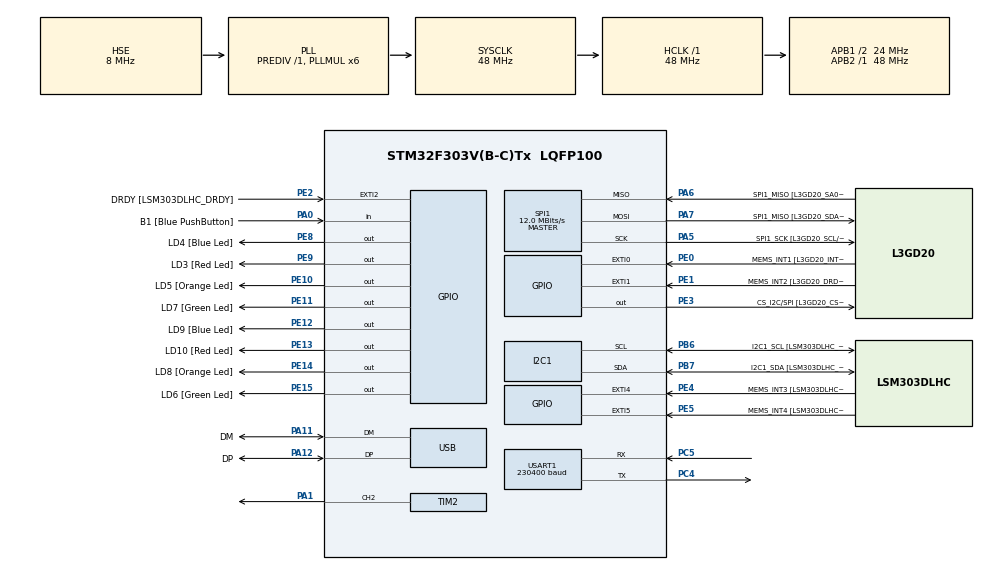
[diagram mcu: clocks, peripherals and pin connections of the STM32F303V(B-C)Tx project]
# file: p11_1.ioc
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I2C1.Timing-I2C=0x2000090E
Mcu.Family=STM32F3
Mcu.Name=STM32F303V(B-C)Tx
Mcu.Package=LQFP100
NVIC.PriorityGroup=NVIC_PRIORITYGROUP_0
NVIC.TIM3_IRQn=true\:0\:0\:false\:false\:true\:true\:true\:true
NVIC.USART1_IRQn=true\:0\:0\:false\:false\:true\:true\:true\:true
PA0.GPIO_Label=B1 [Blue PushButton]
PA0.Signal=GPIO_Input
PA1.Signal=S_TIM2_CH2
PA11.GPIO_Label=DM
PA11.Mode=Device
PA11.Signal=USB_DM
PA12.GPIO_Label=DP
PA12.Mode=Device
PA12.Signal=USB_DP
PA13.GPIO_Label=SWDIO
PA13.Mode=Serial_Wire
PA13.Signal=SYS_JTMS-SWDIO
PA14.GPIO_Label=SWCLK
PA14.Mode=Serial_Wire
PA14.Signal=SYS_JTCK-SWCLK
PA5.GPIO_Label=SPI1_SCK [L3GD20_SCL/SPC]
PA5.Mode=Full_Duplex_Master
PA5.Signal=SPI1_SCK
PA6.GPIO_Label=SPI1_MISO [L3GD20_SA0/SDO]
PA6.Mode=Full_Duplex_Master
PA6.Signal=SPI1_MISO
PA7.GPIO_Label=SPI1_MISO [L3GD20_SDA/SDI/SDO]
PA7.Mode=Full_Duplex_Master
PA7.Signal=SPI1_MOSI
PB3.GPIO_Label=SWO
PB3.Signal=SYS_JTDO-TRACESWO
PB6.GPIO_Label=I2C1_SCL [LSM303DLHC_SCL]
PB6.GPIO_Pu=GPIO_PULLUP
PB6.Mode=I2C
PB6.Signal=I2C1_SCL
PB7.GPIO_Label=I2C1_SDA [LSM303DLHC_SDA]
PB7.GPIO_Pu=GPIO_PULLUP
PB7.Mode=I2C
PB7.Signal=I2C1_SDA
PC14-OSC32_IN.GPIO_Label=OSC32_IN
PC14-OSC32_IN.Signal=RCC_OSC32_IN
PC15-OSC32_OUT.GPIO_Label=OSC32_OUT
PC15-OSC32_OUT.Signal=RCC_OSC32_OUT
PC4.Mode=Asynchronous
PC4.Signal=USART1_TX
PC5.Mode=Asynchronous
PC5.Signal=USART1_RX
PE0.GPIO_Label=MEMS_INT1 [L3GD20_INT1]
PE0.GPIO_ModeDefaultEXTI=GPIO_MODE_EVT_RISING
PE0.Signal=GPXTI0
PE1.GPIO_Label=MEMS_INT2 [L3GD20_DRDY/INT2]
PE1.GPIO_ModeDefaultEXTI=GPIO_MODE_EVT_RISING
PE1.Signal=GPXTI1
PE10.GPIO_Label=LD5 [Orange Led]
PE10.Signal=GPIO_Output
PE11.GPIO_Label=LD7 [Green Led]
PE11.Signal=GPIO_Output
PE12.GPIO_Label=LD9 [Blue Led]
PE12.Signal=GPIO_Output
PE13.GPIO_Label=LD10 [Red Led]
PE13.Signal=GPIO_Output
PE14.GPIO_Label=LD8 [Orange Led]
PE14.Signal=GPIO_Output
PE15.GPIO_Label=LD6 [Green Led]
PE15.Signal=GPIO_Output
PE2.GPIO_Label=DRDY [LSM303DLHC_DRDY]
PE2.GPIO_ModeDefaultEXTI=GPIO_MODE_EVT_RISING
PE2.Signal=GPXTI2
PE3.GPIO_Label=CS_I2C/SPI [L3GD20_CS_I2C/SPI]
PE3.Signal=GPIO_Output
PE4.GPIO_Label=MEMS_INT3 [LSM303DLHC_INT1]
PE4.GPIO_ModeDefaultEXTI=GPIO_MODE_EVT_RISING
PE4.Signal=GPXTI4
PE5.GPIO_Label=MEMS_INT4 [LSM303DLHC_INT2]
PE5.GPIO_ModeDefaultEXTI=GPIO_MODE_EVT_RISING
PE5.Signal=GPXTI5
PE8.GPIO_Label=LD4 [Blue Led]
PE8.Signal=GPIO_Output
PE9.GPIO_Label=LD3 [Red Led]
PE9.Signal=GPIO_Output
PF0-OSC_IN.GPIO_Label=OSC_IN
PF0-OSC_IN.Mode=HSE-External-Clock-Source
PF0-OSC_IN.Signal=RCC_OSC_IN
PF1-OSC_OUT.GPIO_Label=OSC_OUT
PF1-OSC_OUT.Signal=RCC_OSC_OUT
ProjectManager.HeapSize=0x200
ProjectManager.StackSize=0x400
ProjectManager.TargetToolchain=STM32CubeIDE
RCC.AHBFreq_Value=48000000
RCC.APB1CLKDivider=RCC_HCLK_DIV2
RCC.APB1Freq_Value=24000000
RCC.APB1TimFreq_Value=48000000
RCC.APB2Freq_Value=48000000
RCC.APB2TimFreq_Value=48000000
RCC.CortexFreq_Value=48000000
RCC.HCLKFreq_Value=48000000
RCC.HSE_VALUE=8000000
RCC.HSI_VALUE=8000000
RCC.LSE_VALUE=32768
RCC.PLLMUL=RCC_PLL_MUL6
RCC.SYSCLKFreq_VALUE=48000000
RCC.SYSCLKSourceVirtual=RCC_SYSCLKSOURCE_PLLCLK
RCC.USBFreq_Value=48000000
RTC.AsynchPrediv=39
RTC.Format=RTC_FORMAT_BIN
RTC.SynchPrediv=999
SH.S_TIM2_CH2.0=TIM2_CH2,PWM Generation2 CH2
SPI1.BaudRatePrescaler=SPI_BAUDRATEPRESCALER_4
SPI1.BaudRatePrescaler-Full_Duplex_Master=SPI_BAUDRATEPRESCALER_2
SPI1.CalculateBaudRate=12.0 MBits/s
SPI1.CalculateBaudRate-Full_Duplex_Master=24.0 MBits/s
SPI1.Direction=SPI_DIRECTION_2LINES
SPI1.Mode=SPI_MODE_MASTER
SPI1.Mode-Full_Duplex_Master=SPI_MODE_MASTER
SPI1.VirtualType=VM_MASTER
TIM2.Channel-PWM\ Generation2\ CH2=TIM_CHANNEL_2
TIM3.Period=10000-1
TIM3.Prescaler=2400-1
USART1.BaudRate=230400
USART1.VirtualMode-Asynchronous=VM_ASYNC
VP_RTC_VS_RTC_Activate.Mode=RTC_Enabled
VP_RTC_VS_RTC_Calendar.Mode=RTC_Calendar
VP_TIM2_VS_ClockSourceINT.Mode=Internal
VP_TIM3_VS_ClockSourceINT.Mode=Internal
board=STM32F3DISCOVERY

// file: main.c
/* USER CODE BEGIN Header */
/**
  ******************************************************************************
  * @file           : main.c
  * @brief          : Main program body
  ******************************************************************************
  * @attention
  *
  * Copyright (c) 2023 STMicroelectronics.
  * All rights reserved.
  *
  * This software is licensed under terms that can be found in the LICENSE file
  * in the root directory of this software component.
  * If no LICENSE file comes with this software, it is provided AS-IS.
  *
  ******************************************************************************
  */
/* USER CODE END Header */
#include "main.h"

/* USER CODE BEGIN Includes */
#include "stdbool.h"
#include <string.h>

/* USER CODE END Includes */

/* USER CODE BEGIN PTD */
typedef struct
{
    int hour;
    int minute;
    int second;
} Time;

typedef struct
{
    uint16_t frequency;
    uint16_t duration;
} Tone;

/* USER CODE END PTD */

/* USER CODE BEGIN PD */
#define NOTE_B0  31
#define NOTE_C1  33
#define NOTE_CS1 35
#define NOTE_D1  37
#define NOTE_DS1 39
#define NOTE_E1  41
#define NOTE_F1  44
#define NOTE_FS1 46
#define NOTE_G1  49
#define NOTE_GS1 52
#define NOTE_A1  55
#define NOTE_AS1 58
#define NOTE_B1  62
#define NOTE_C2  65
#define NOTE_CS2 69
#define NOTE_D2  73
#define NOTE_DS2 78
#define NOTE_E2  82
#define NOTE_F2  87
#define NOTE_FS2 93
#define NOTE_G2  98
#define NOTE_GS2 104
#define NOTE_A2  110
#define NOTE_AS2 117
#define NOTE_B2  123
#define NOTE_C3  131
#define NOTE_CS3 139
#define NOTE_D3  147
#define NOTE_DS3 156
#define NOTE_E3  165
#define NOTE_F3  175
#define NOTE_FS3 185
#define NOTE_G3  196
#define NOTE_GS3 208
#define NOTE_A3  220
#define NOTE_AS3 233
#define NOTE_B3  247
#define NOTE_C4  262
#define NOTE_CS4 277
#define NOTE_D4  294
#define NOTE_DS4 311
#define NOTE_E4  330
#define NOTE_F4  349
#define NOTE_FS4 370
#define NOTE_G4  392
#define NOTE_GS4 415
#define NOTE_A4  440
#define NOTE_AS4 466
#define NOTE_B4  494
#define NOTE_C5  523
#define NOTE_CS5 554
#define NOTE_D5  587
#define NOTE_DS5 622
#define NOTE_E5  659
#define NOTE_F5  698
#define NOTE_FS5 740
#define NOTE_G5  784
#define NOTE_GS5 831
#define NOTE_A5  880
#define NOTE_AS5 932
#define NOTE_B5  988
#define NOTE_C6  1047
#define NOTE_CS6 1109
#define NOTE_D6  1175
#define NOTE_DS6 1245
#define NOTE_E6  1319
#define NOTE_F6  1397
#define NOTE_FS6 1480
#define NOTE_G6  1568
#define NOTE_GS6 1661
#define NOTE_A6  1760
#define NOTE_AS6 1865
#define NOTE_B6  1976
#define NOTE_C7  2093
#define NOTE_CS7 2217
#define NOTE_D7  2349
#define NOTE_DS7 2489
#define NOTE_E7  2637
#define NOTE_F7  2794
#define NOTE_FS7 2960
#define NOTE_G7  3136
#define NOTE_GS7 3322
#define NOTE_A7  3520
#define NOTE_AS7 3729
#define NOTE_B7  3951
#define NOTE_C8  4186
#define NOTE_CS8 4435
#define NOTE_D8  4699
#define NOTE_DS8 4978
#define REST      0
/* USER CODE END PD */

/* USER CODE BEGIN PM */
#define ARRAY_LENGTH(arr) (sizeof(arr) / sizeof((arr)[0]))

/* USER CODE END PM */

I2C_HandleTypeDef hi2c1;

RTC_HandleTypeDef hrtc;

SPI_HandleTypeDef hspi1;

TIM_HandleTypeDef htim2;
TIM_HandleTypeDef htim3;

UART_HandleTypeDef huart1;

PCD_HandleTypeDef hpcd_USB_FS;

/* USER CODE BEGIN PV */
Time time;
Time alarm;
Time init;
Time alarm1;
Time alarm2;
Time alarm3;

//Tone *alarm_tone;

bool start = false;
char timestr[20];
int volume = 30;
int idx = 0;
char ch;
int duration = 0;
int clock_type = 0;
int count = 1;

char alarm_tone;
char alarm_tone1;
char alarm_tone2;
char alarm_tone3;

Tone *volatile melody_ptr;
volatile uint16_t melody_tone_count;
volatile uint16_t current_tone_number;
volatile uint32_t current_tone_end;
Tone nokia[] = {
	  {NOTE_E5, 153},
	  {NOTE_D5, 153},
	  {NOTE_FS4, 306},
	  {NOTE_GS4, 306},
	  {NOTE_CS5, 153},
	  {NOTE_B4, 153},
	  {NOTE_D4, 306},
	  {NOTE_E4, 306},
	  {NOTE_B4, 153},
	  {NOTE_A4, 153},
	  {NOTE_CS4, 306},
	  {NOTE_E4, 306},
	  {NOTE_A4, 612},
	  {   0,  0}

};
Tone happy_birthday[] = {

	  {NOTE_G4,306},
	  {NOTE_G4,612},
	  {NOTE_C5,918},
	  {NOTE_G4,306},
	  {NOTE_G4,612},
	  {NOTE_C5,918},
	  {NOTE_G4,306},
	  {NOTE_G4,612},
	  {NOTE_C5,306},
	  {NOTE_C5,612},
	  {NOTE_B4,306},
	  {NOTE_A4,612},
	  {NOTE_B4,918},
	  {NOTE_G4,306},
	  {NOTE_G4,612},
	  {NOTE_B4,918},
	  {NOTE_G4,306},
	  {NOTE_G4,612},
	  {NOTE_B4,918},
	  {NOTE_G4,306},
	  {NOTE_G4,612},
	  {NOTE_A4,306},
	  {NOTE_G4,612},
	  {NOTE_A4,306},
	  {NOTE_B4,612},
	  {NOTE_C4,918},

	  {   0,  0}
};

Tone super_mario_bros[] = {
	{2637,306}, // E7 x2
	{   0,153}, // x3 <-- Silence
	{2637,153}, // E7
	{   0,153}, // x3
	{2093,153}, // C7
	{2637,153}, // E7
	{   0,153}, // x3
	{3136,153}, // G7
	{   0,459}, // x3
	{1586,153}, // G6
	{   0,459}, // x3

	{2093,153}, // C7
	{   0,306}, // x2
	{1586,153}, // G6
	{   0,306}, // x2
	{1319,153}, // E6
	{   0,306}, // x2
	{1760,153}, // A6
	{   0,153}, // x1
	{1976,153}, // B6
	{   0,153}, // x1
	{1865,153}, // AS6
	{1760,153}, // A6
	{   0,153}, // x1

	{1586,204}, // G6
	{2637,204}, // E7
	{3136,204}, // G7
	{3520,153}, // A7
	{   0,153}, // x1
	{2794,153}, // F7
	{3136,153}, // G7
	{   0,153}, // x1
	{2637,153}, // E7
	{   0,153}, // x1
	{2093,153}, // C7
	{2349,153}, // D7
	{1976,153}, // B6
	{   0,306}, // x2

	{2093,153}, // C7
	{   0,306}, // x2
	{1586,153}, // G6
	{   0,306}, // x2
	{1319,153}, // E6
	{   0,306}, // x2
	{1760,153}, // A6
	{   0,153}, // x1
	{1976,153}, // B6
	{   0,153}, // x1
	{1865,153}, // AS6
	{1760,153}, // A6
	{   0,153}, // x1

	{1586,204}, // G6
	{2637,204}, // E7
	{3136,204}, // G7
	{3520,153}, // A7
	{   0,153}, // x1
	{2794,153}, // F7
	{3136,153}, // G7
	{   0,153}, // x1
	{2637,153}, // E7
	{   0,153}, // x1
	{2093,153}, // C7
	{2349,153}, // D7
	{1976,153}, // B6

	{   0,  0}	// <-- Disable PWM
};
/* USER CODE END PV */

void SystemClock_Config(void);
static void MX_GPIO_Init(void);
static void MX_I2C1_Init(void);
static void MX_SPI1_Init(void);
static void MX_USB_PCD_Init(void);
static void MX_RTC_Init(void);
static void MX_TIM3_Init(void);
static void MX_USART1_UART_Init(void);
static void MX_TIM2_Init(void);

/* USER CODE BEGIN 0 */
RTC_TimeTypeDef myTime;
RTC_DateTypeDef myDate;

TIM_HandleTypeDef *pwm_timer = &htim2; // Point to PWM timer configured in CubeMX
uint32_t pwm_channel = TIM_CHANNEL_2;  // Specify configured PWM channel

void PWM_Start()
{
  HAL_TIM_PWM_Start(pwm_timer, pwm_channel);
}

void PWM_Change_Tone(uint16_t pwm_freq, uint16_t volume) // pwm_freq (1 - 20000), volume (0 - 1000)
{

  if (pwm_freq == 0 || pwm_freq > 20000)
  {
    __HAL_TIM_SET_COMPARE(pwm_timer, pwm_channel, 0);
  }
  else
  {
    const uint32_t internal_clock_freq = HAL_RCC_GetSysClockFreq();
	const uint16_t prescaler = 1 + internal_clock_freq / pwm_freq / 60000;
    const uint32_t timer_clock = internal_clock_freq / prescaler;
    const uint32_t period_cycles = timer_clock / pwm_freq;
    const uint32_t pulse_width = volume * period_cycles / 1000 / 2;

    pwm_timer->Instance->PSC = prescaler - 1;
    pwm_timer->Instance->ARR = period_cycles - 1;
    pwm_timer->Instance->EGR = TIM_EGR_UG;
    __HAL_TIM_SET_COMPARE(pwm_timer, pwm_channel, pulse_width); // pwm_timer->Instance->CCR2 = pulse_width;
  }

}

void Change_Melody(Tone *melody, uint16_t tone_count)
{
    melody_ptr = melody;
    melody_tone_count = tone_count;
    current_tone_number = 0;
}

void Update_Melody()
{
    if (start && (HAL_GetTick() > current_tone_end) && (current_tone_number < melody_tone_count))
    {
        const Tone active_tone = *(melody_ptr + current_tone_number);
        PWM_Change_Tone(active_tone.frequency, volume);
        current_tone_end = HAL_GetTick() + active_tone.duration;
        current_tone_number++;
    }
}

/* USER CODE END 0 */

int main(void)
{

  /* MCU Configuration--------------------------------------------------------*/

  /* Reset of all peripherals, Initializes the Flash interface and the Systick. */
  HAL_Init();

  /* Configure the system clock */
  SystemClock_Config();

  /* Initialize all configured peripherals */
  MX_GPIO_Init();
  MX_I2C1_Init();
  MX_SPI1_Init();
  MX_USB_PCD_Init();
  MX_RTC_Init();
  MX_TIM3_Init();
  MX_USART1_UART_Init();
  MX_TIM2_Init();
  /* USER CODE BEGIN 2 */

 	myDate.Year = 23;
   	myDate.Month = 6;
   	myDate.Date = 5;
   	HAL_RTC_SetDate(&hrtc, &myDate, RTC_FORMAT_BIN);

    HAL_TIM_Base_Start_IT(&htim3);
    PWM_Start();

    HAL_UART_Receive_IT(&huart1, &ch, 1);

    HAL_UART_Transmit(&huart1, "Select the melody:\n", 19, HAL_MAX_DELAY);
    HAL_UART_Transmit(&huart1, "A)nokia\n", 8, HAL_MAX_DELAY);
    HAL_UART_Transmit(&huart1, "B)happy birthday\n", 17, HAL_MAX_DELAY);
    HAL_UART_Transmit(&huart1, "C)super mario\n", 14, HAL_MAX_DELAY);

  /* USER CODE END 2 */

  /* Infinite loop */
  while (1)
  {

  }
}

void SystemClock_Config(void)
{
  RCC_OscInitTypeDef RCC_OscInitStruct = {0};
  RCC_ClkInitTypeDef RCC_ClkInitStruct = {0};
  RCC_PeriphCLKInitTypeDef PeriphClkInit = {0};

  /** Initializes the RCC Oscillators according to the specified parameters
  * in the RCC_OscInitTypeDef structure.
  */
  RCC_OscInitStruct.OscillatorType = RCC_OSCILLATORTYPE_HSI|RCC_OSCILLATORTYPE_LSI
                              |RCC_OSCILLATORTYPE_HSE;
  RCC_OscInitStruct.HSEState = RCC_HSE_BYPASS;
  RCC_OscInitStruct.HSEPredivValue = RCC_HSE_PREDIV_DIV1;
  RCC_OscInitStruct.HSIState = RCC_HSI_ON;
  RCC_OscInitStruct.HSICalibrationValue = RCC_HSICALIBRATION_DEFAULT;
  RCC_OscInitStruct.LSIState = RCC_LSI_ON;
  RCC_OscInitStruct.PLL.PLLState = RCC_PLL_ON;
  RCC_OscInitStruct.PLL.PLLSource = RCC_PLLSOURCE_HSE;
  RCC_OscInitStruct.PLL.PLLMUL = RCC_PLL_MUL6;
  if (HAL_RCC_OscConfig(&RCC_OscInitStruct) != HAL_OK)
  {
    Error_Handler();
  }

  /** Initializes the CPU, AHB and APB buses clocks
  */
  RCC_ClkInitStruct.ClockType = RCC_CLOCKTYPE_HCLK|RCC_CLOCKTYPE_SYSCLK
                              |RCC_CLOCKTYPE_PCLK1|RCC_CLOCKTYPE_PCLK2;
  RCC_ClkInitStruct.SYSCLKSource = RCC_SYSCLKSOURCE_PLLCLK;
  RCC_ClkInitStruct.AHBCLKDivider = RCC_SYSCLK_DIV1;
  RCC_ClkInitStruct.APB1CLKDivider = RCC_HCLK_DIV2;
  RCC_ClkInitStruct.APB2CLKDivider = RCC_HCLK_DIV1;

  if (HAL_RCC_ClockConfig(&RCC_ClkInitStruct, FLASH_LATENCY_1) != HAL_OK)
  {
    Error_Handler();
  }
  PeriphClkInit.PeriphClockSelection = RCC_PERIPHCLK_USB|RCC_PERIPHCLK_USART1
                              |RCC_PERIPHCLK_I2C1|RCC_PERIPHCLK_RTC;
  PeriphClkInit.Usart1ClockSelection = RCC_USART1CLKSOURCE_PCLK2;
  PeriphClkInit.I2c1ClockSelection = RCC_I2C1CLKSOURCE_HSI;
  PeriphClkInit.RTCClockSelection = RCC_RTCCLKSOURCE_LSI;
  PeriphClkInit.USBClockSelection = RCC_USBCLKSOURCE_PLL;
  if (HAL_RCCEx_PeriphCLKConfig(&PeriphClkInit) != HAL_OK)
  {
    Error_Handler();
  }
}

static void MX_I2C1_Init(void)
{

  hi2c1.Instance = I2C1;
  hi2c1.Init.Timing = 0x2000090E;
  hi2c1.Init.OwnAddress1 = 0;
  hi2c1.Init.AddressingMode = I2C_ADDRESSINGMODE_7BIT;
  hi2c1.Init.DualAddressMode = I2C_DUALADDRESS_DISABLE;
  hi2c1.Init.OwnAddress2 = 0;
  hi2c1.Init.OwnAddress2Masks = I2C_OA2_NOMASK;
  hi2c1.Init.GeneralCallMode = I2C_GENERALCALL_DISABLE;
  hi2c1.Init.NoStretchMode = I2C_NOSTRETCH_DISABLE;
  if (HAL_I2C_Init(&hi2c1) != HAL_OK)
  {
    Error_Handler();
  }

  /** Configure Analogue filter
  */
  if (HAL_I2CEx_ConfigAnalogFilter(&hi2c1, I2C_ANALOGFILTER_ENABLE) != HAL_OK)
  {
    Error_Handler();
  }

  /** Configure Digital filter
  */
  if (HAL_I2CEx_ConfigDigitalFilter(&hi2c1, 0) != HAL_OK)
  {
    Error_Handler();
  }

}

static void MX_RTC_Init(void)
{

  RTC_TimeTypeDef sTime = {0};
  RTC_DateTypeDef sDate = {0};

  /** Initialize RTC Only
  */
  hrtc.Instance = RTC;
  hrtc.Init.HourFormat = RTC_HOURFORMAT_24;
  hrtc.Init.AsynchPrediv = 39;
  hrtc.Init.SynchPrediv = 999;
  hrtc.Init.OutPut = RTC_OUTPUT_DISABLE;
  hrtc.Init.OutPutPolarity = RTC_OUTPUT_POLARITY_HIGH;
  hrtc.Init.OutPutType = RTC_OUTPUT_TYPE_OPENDRAIN;
  if (HAL_RTC_Init(&hrtc) != HAL_OK)
  {
    Error_Handler();
  }

  /** Initialize RTC and set the Time and Date
  */
  sTime.Hours = 0;
  sTime.Minutes = 0;
  sTime.Seconds = 0;
  sTime.DayLightSaving = RTC_DAYLIGHTSAVING_NONE;
  sTime.StoreOperation = RTC_STOREOPERATION_RESET;
  if (HAL_RTC_SetTime(&hrtc, &sTime, RTC_FORMAT_BIN) != HAL_OK)
  {
    Error_Handler();
  }
  sDate.WeekDay = RTC_WEEKDAY_MONDAY;
  sDate.Month = RTC_MONTH_JANUARY;
  sDate.Date = 1;
  sDate.Year = 0;

  if (HAL_RTC_SetDate(&hrtc, &sDate, RTC_FORMAT_BIN) != HAL_OK)
  {
    Error_Handler();
  }

}

static void MX_SPI1_Init(void)
{

  /* SPI1 parameter configuration*/
  hspi1.Instance = SPI1;
  hspi1.Init.Mode = SPI_MODE_MASTER;
  hspi1.Init.Direction = SPI_DIRECTION_2LINES;
  hspi1.Init.DataSize = SPI_DATASIZE_4BIT;
  hspi1.Init.CLKPolarity = SPI_POLARITY_LOW;
  hspi1.Init.CLKPhase = SPI_PHASE_1EDGE;
  hspi1.Init.NSS = SPI_NSS_SOFT;
  hspi1.Init.BaudRatePrescaler = SPI_BAUDRATEPRESCALER_4;
  hspi1.Init.FirstBit = SPI_FIRSTBIT_MSB;
  hspi1.Init.TIMode = SPI_TIMODE_DISABLE;
  hspi1.Init.CRCCalculation = SPI_CRCCALCULATION_DISABLE;
  hspi1.Init.CRCPolynomial = 7;
  hspi1.Init.CRCLength = SPI_CRC_LENGTH_DATASIZE;
  hspi1.Init.NSSPMode = SPI_NSS_PULSE_ENABLE;
  if (HAL_SPI_Init(&hspi1) != HAL_OK)
  {
    Error_Handler();
  }

}

static void MX_TIM2_Init(void)
{

  TIM_ClockConfigTypeDef sClockSourceConfig = {0};
  TIM_MasterConfigTypeDef sMasterConfig = {0};
  TIM_OC_InitTypeDef sConfigOC = {0};

  htim2.Instance = TIM2;
  htim2.Init.Prescaler = 0;
  htim2.Init.CounterMode = TIM_COUNTERMODE_UP;
  htim2.Init.Period = 4294967295;
  htim2.Init.ClockDivision = TIM_CLOCKDIVISION_DIV1;
  htim2.Init.AutoReloadPreload = TIM_AUTORELOAD_PRELOAD_DISABLE;
  if (HAL_TIM_Base_Init(&htim2) != HAL_OK)
  {
    Error_Handler();
  }
  sClockSourceConfig.ClockSource = TIM_CLOCKSOURCE_INTERNAL;
  if (HAL_TIM_ConfigClockSource(&htim2, &sClockSourceConfig) != HAL_OK)
  {
    Error_Handler();
  }
  if (HAL_TIM_PWM_Init(&htim2) != HAL_OK)
  {
    Error_Handler();
  }
  sMasterConfig.MasterOutputTrigger = TIM_TRGO_RESET;
  sMasterConfig.MasterSlaveMode = TIM_MASTERSLAVEMODE_DISABLE;
  if (HAL_TIMEx_MasterConfigSynchronization(&htim2, &sMasterConfig) != HAL_OK)
  {
    Error_Handler();
  }
  sConfigOC.OCMode = TIM_OCMODE_PWM1;
  sConfigOC.Pulse = 0;
  sConfigOC.OCPolarity = TIM_OCPOLARITY_HIGH;
  sConfigOC.OCFastMode = TIM_OCFAST_DISABLE;
  if (HAL_TIM_PWM_ConfigChannel(&htim2, &sConfigOC, TIM_CHANNEL_2) != HAL_OK)
  {
    Error_Handler();
  }
  HAL_TIM_MspPostInit(&htim2);

}

static void MX_TIM3_Init(void)
{

  TIM_ClockConfigTypeDef sClockSourceConfig = {0};
  TIM_MasterConfigTypeDef sMasterConfig = {0};

  htim3.Instance = TIM3;
  htim3.Init.Prescaler = 2400-1;
  htim3.Init.CounterMode = TIM_COUNTERMODE_UP;
  htim3.Init.Period = 10000-1;
  htim3.Init.ClockDivision = TIM_CLOCKDIVISION_DIV1;
  htim3.Init.AutoReloadPreload = TIM_AUTORELOAD_PRELOAD_DISABLE;
  if (HAL_TIM_Base_Init(&htim3) != HAL_OK)
  {
    Error_Handler();
  }
  sClockSourceConfig.ClockSource = TIM_CLOCKSOURCE_INTERNAL;
  if (HAL_TIM_ConfigClockSource(&htim3, &sClockSourceConfig) != HAL_OK)
  {
    Error_Handler();
  }
  sMasterConfig.MasterOutputTrigger = TIM_TRGO_RESET;
  sMasterConfig.MasterSlaveMode = TIM_MASTERSLAVEMODE_DISABLE;
  if (HAL_TIMEx_MasterConfigSynchronization(&htim3, &sMasterConfig) != HAL_OK)
  {
    Error_Handler();
  }

}

static void MX_USART1_UART_Init(void)
{

  huart1.Instance = USART1;
  huart1.Init.BaudRate = 230400;
  huart1.Init.WordLength = UART_WORDLENGTH_8B;
  huart1.Init.StopBits = UART_STOPBITS_1;
  huart1.Init.Parity = UART_PARITY_NONE;
  huart1.Init.Mode = UART_MODE_TX_RX;
  huart1.Init.HwFlowCtl = UART_HWCONTROL_NONE;
  huart1.Init.OverSampling = UART_OVERSAMPLING_16;
  huart1.Init.OneBitSampling = UART_ONE_BIT_SAMPLE_DISABLE;
  huart1.AdvancedInit.AdvFeatureInit = UART_ADVFEATURE_NO_INIT;
  if (HAL_UART_Init(&huart1) != HAL_OK)
  {
    Error_Handler();
  }

}

static void MX_USB_PCD_Init(void)
{

  hpcd_USB_FS.Instance = USB;
  hpcd_USB_FS.Init.dev_endpoints = 8;
  hpcd_USB_FS.Init.speed = PCD_SPEED_FULL;
  hpcd_USB_FS.Init.phy_itface = PCD_PHY_EMBEDDED;
  hpcd_USB_FS.Init.low_power_enable = DISABLE;
  hpcd_USB_FS.Init.battery_charging_enable = DISABLE;
  if (HAL_PCD_Init(&hpcd_USB_FS) != HAL_OK)
  {
    Error_Handler();
  }

}

static void MX_GPIO_Init(void)
{
  GPIO_InitTypeDef GPIO_InitStruct = {0};

  /* GPIO Ports Clock Enable */
  __HAL_RCC_GPIOE_CLK_ENABLE();
  __HAL_RCC_GPIOC_CLK_ENABLE();
  __HAL_RCC_GPIOF_CLK_ENABLE();
  __HAL_RCC_GPIOA_CLK_ENABLE();
  __HAL_RCC_GPIOB_CLK_ENABLE();

  /*Configure GPIO pin Output Level */
  HAL_GPIO_WritePin(GPIOE, CS_I2C_SPI_Pin|LD4_Pin|LD3_Pin|LD5_Pin
                          |LD7_Pin|LD9_Pin|LD10_Pin|LD8_Pin
                          |LD6_Pin, GPIO_PIN_RESET);

  /*Configure GPIO pins : DRDY_Pin MEMS_INT3_Pin MEMS_INT4_Pin MEMS_INT1_Pin
                           MEMS_INT2_Pin */
  GPIO_InitStruct.Pin = DRDY_Pin|MEMS_INT3_Pin|MEMS_INT4_Pin|MEMS_INT1_Pin
                          |MEMS_INT2_Pin;
  GPIO_InitStruct.Mode = GPIO_MODE_EVT_RISING;
  GPIO_InitStruct.Pull = GPIO_NOPULL;
  HAL_GPIO_Init(GPIOE, &GPIO_InitStruct);

  /*Configure GPIO pins : CS_I2C_SPI_Pin LD4_Pin LD3_Pin LD5_Pin
                           LD7_Pin LD9_Pin LD10_Pin LD8_Pin
                           LD6_Pin */
  GPIO_InitStruct.Pin = CS_I2C_SPI_Pin|LD4_Pin|LD3_Pin|LD5_Pin
                          |LD7_Pin|LD9_Pin|LD10_Pin|LD8_Pin
                          |LD6_Pin;
  GPIO_InitStruct.Mode = GPIO_MODE_OUTPUT_PP;
  GPIO_InitStruct.Pull = GPIO_NOPULL;
  GPIO_InitStruct.Speed = GPIO_SPEED_FREQ_LOW;
  HAL_GPIO_Init(GPIOE, &GPIO_InitStruct);

  /*Configure GPIO pin : B1_Pin */
  GPIO_InitStruct.Pin = B1_Pin;
  GPIO_InitStruct.Mode = GPIO_MODE_INPUT;
  GPIO_InitStruct.Pull = GPIO_NOPULL;
  HAL_GPIO_Init(B1_GPIO_Port, &GPIO_InitStruct);

}

/* USER CODE BEGIN 4 */

void Turn_off_LED()
{
	HAL_GPIO_WritePin(GPIOE, GPIO_PIN_8, 0);
	HAL_GPIO_WritePin(GPIOE, GPIO_PIN_9, 0);
	HAL_GPIO_WritePin(GPIOE, GPIO_PIN_10, 0);
	HAL_GPIO_WritePin(GPIOE, GPIO_PIN_11, 0);
	HAL_GPIO_WritePin(GPIOE, GPIO_PIN_12, 0);
	HAL_GPIO_WritePin(GPIOE, GPIO_PIN_13, 0);
	HAL_GPIO_WritePin(GPIOE, GPIO_PIN_14, 0);
	HAL_GPIO_WritePin(GPIOE, GPIO_PIN_15, 0);
}

void Toggle_LED()
{
	HAL_GPIO_TogglePin(GPIOE, GPIO_PIN_8);
	HAL_GPIO_TogglePin(GPIOE, GPIO_PIN_9);
	HAL_GPIO_TogglePin(GPIOE, GPIO_PIN_10);
	HAL_GPIO_TogglePin(GPIOE, GPIO_PIN_11);
	HAL_GPIO_TogglePin(GPIOE, GPIO_PIN_12);
	HAL_GPIO_TogglePin(GPIOE, GPIO_PIN_13);
	HAL_GPIO_TogglePin(GPIOE, GPIO_PIN_14);
	HAL_GPIO_TogglePin(GPIOE, GPIO_PIN_15);
}

void HAL_UART_RxCpltCallback(UART_HandleTypeDef *huart)
{

    if((47 < ch && ch < 58) || (64 < ch && ch < 68))
    {
    	switch(idx)
    	{
    	case 0:
    		time.hour = ch - 48;
    		break;
    	case 1:
    		time.hour = (time.hour * 10) + (ch - 48);
    	    break;
    	case 3:
    		time.minute = ch - 48;
    	    break;
    	case 4:
			time.minute = (time.minute * 10) + (ch - 48);
    	    break;
    	case 6:
			time.second = ch - 48;
    	    break;
    	case 7:
    		time.second = (time.second * 10) + (ch - 48);

		    switch(clock_type)
		    {
		    case 0:

			   	myTime.Hours = time.hour;
			   	myTime.Minutes = time.minute;
			   	myTime.Seconds = time.second;

			   	HAL_RTC_SetTime(&hrtc, &myTime, RTC_FORMAT_BIN);

			    idx = -1;

			    break;
		    case 1:
			    alarm1 = time;
			    count = 1;
			    break;
		    case 2:
			    alarm2 = time;

			    break;
		    case 3:
			    alarm3 = time;

			    break;
		    }

		    clock_type += 1;
    	    break;

		case 8:
			switch(clock_type - 1)
			{
			case 1:
				alarm_tone1 = ch;
				break;

			case 2:
				alarm_tone2 = ch;
				break;

			case 3:
				alarm_tone3 = ch;
				break;

			}

		    idx = -1;

    	}

    }

    idx += 1;

    HAL_UART_Receive_IT(&huart1, &ch, 1);

}

void HAL_TIM_PeriodElapsedCallback(TIM_HandleTypeDef *htim)
{

	if (htim->Instance == TIM3) {

		HAL_RTC_GetTime(&hrtc, &myTime, RTC_FORMAT_BIN);
					uint32_t len = sprintf(timestr, "%2d:%2d:%2d\n", myTime.Hours,
							myTime.Minutes, myTime.Seconds);
					HAL_UART_Transmit(&huart1, timestr, len, HAL_MAX_DELAY);

		switch(count)
		{
		case 1:
			alarm = alarm1;
			alarm_tone = alarm_tone1;
			break;
		case 2:
			alarm = alarm2;
			alarm_tone = alarm_tone2;
			break;
		case 3:
			alarm = alarm3;
			alarm_tone = alarm_tone3;

			break;
		}

		if(myTime.Hours == alarm.hour && myTime.Minutes == alarm.minute && myTime.Seconds == alarm.second && clock_type > 0)
		{
			start = true;
			count += 1;

		    switch(alarm_tone)
			{
			case 'A':
			    Change_Melody(nokia, ARRAY_LENGTH(nokia));
				break;

			case 'B':
			    Change_Melody(happy_birthday, ARRAY_LENGTH(happy_birthday));
				break;

			case 'C':
			    Change_Melody(super_mario_bros, ARRAY_LENGTH(super_mario_bros));
				break;

			}
		}

		if(start)
		{
			Toggle_LED();
		}

		if(HAL_GPIO_ReadPin(GPIOA, GPIO_PIN_0) == 1)
		{
			start = false;
			PWM_Change_Tone(0, volume);
			Turn_off_LED();
		}

	}

}
/* USER CODE END 4 */

void Error_Handler(void)
{
  __disable_irq();
  while (1)
  {
  }
}
